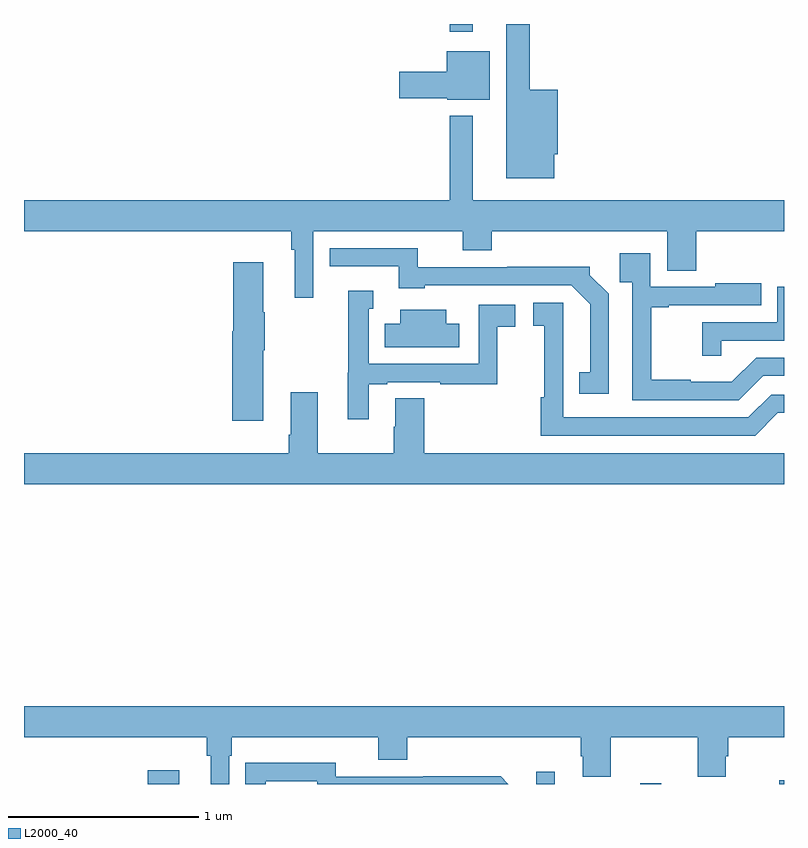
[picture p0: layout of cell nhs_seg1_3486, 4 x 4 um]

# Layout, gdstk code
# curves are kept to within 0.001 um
import gdstk
lib = gdstk.Library(unit=1e-6, precision=1e-09)
def R(c, l, rs):  # rectangles x0, y0, x1, y1
    for r in rs: c.add(gdstk.rectangle(r[:2], r[2:], *l))
def P(c, l, *ps):  # polygons
    for p in ps: c.add(gdstk.Polygon(p, *l))
L2000_40 = (2000, 40)

nhs_seg1_3486 = lib.new_cell('nhs_seg1_3486')
R(nhs_seg1_3486, L2000_40, [(301.652,506.199,301.816,506.272), (303.696,506.199,303.793,506.263), (304.244,506.199,304.355,506.203), (304.974,506.199,305,506.22), (303.24,510.159,303.361,510.199)])
P(nhs_seg1_3486, L2000_40, [(303.79,509.514),(303.808,509.514),(303.808,509.854),(303.661,509.854),(303.661,510.199),(303.539,510.199),(303.539,509.387),(303.79,509.387)],
  [(303.451,510.055),(303.224,510.055),(303.224,509.949),(302.976,509.949),(302.976,509.807),(303.228,509.807),(303.228,509.801),(303.451,509.801)],
  [(303.361,509.716),(303.24,509.716),(303.24,509.272),(301,509.272),(301,509.108),(302.407,509.108),(302.407,509.012),(302.426,509.012),(302.426,508.758),(302.523,508.758),(302.523,509.108),(303.308,509.108),(303.308,509.009),(303.461,509.009),(303.461,509.108),(304.385,509.108),(304.385,508.9),(304.538,508.9),(304.538,509.108),(305,509.108),(305,509.272),(303.361,509.272)],
  [(304.077,508.778),(303.978,508.877),(303.978,508.922),(303.544,508.922),(303.544,508.92),(303.072,508.92),(303.072,509.019),(302.608,509.019),(302.608,508.923),(302.972,508.923),(302.972,508.808),(303.108,508.808),(303.108,508.824),(303.879,508.824),(303.98,508.723),(303.98,508.367),(303.922,508.367),(303.922,508.254),(304.077,508.254)],
  [(304.89,508.347),(305,508.347),(305,508.443),(304.854,508.443),(304.726,508.315),(304.508,508.315),(304.508,508.327),(304.301,508.327),(304.301,508.707),(304.393,508.707),(304.393,508.719),(304.88,508.719),(304.88,508.834),(304.637,508.834),(304.637,508.815),(304.296,508.815),(304.296,508.993),(304.135,508.993),(304.135,508.841),(304.2,508.841),(304.2,508.218),(304.761,508.218)],
  [(302.26,508.481),(302.268,508.481),(302.268,508.681),(302.26,508.681),(302.26,508.945),(302.102,508.945),(302.102,508.581),(302.096,508.581),(302.096,508.11),(302.26,508.11)],
  [(304.671,508.533),(305,508.533),(305,508.815),(304.965,508.815),(304.965,508.629),(304.57,508.629),(304.57,508.452),(304.671,508.452)],
  [(302.815,508.302),(302.911,508.302),(302.911,508.314),(303.19,508.314),(303.19,508.302),(303.492,508.302),(303.492,508.606),(303.586,508.606),(303.586,508.722),(303.393,508.722),(303.393,508.41),(302.814,508.41),(302.814,508.701),(302.839,508.701),(302.839,508.795),(302.706,508.795),(302.706,508.363),(302.705,508.363),(302.705,508.119),(302.815,508.119)],
  [(304.968,508.152),(305,508.152),(305,508.248),(304.932,508.248),(304.812,508.128),(303.837,508.128),(303.838,508.732),(303.681,508.732),(303.681,508.611),(303.739,508.611),(303.739,508.235),(303.721,508.235),(303.721,508.032),(304.848,508.032)],
  [(303.292,508.621),(303.223,508.621),(303.223,508.696),(302.981,508.696),(302.981,508.621),(302.899,508.621),(302.899,508.499),(303.292,508.499)],
  [(305,507.94),(303.107,507.94),(303.107,508.229),(302.954,508.229),(302.954,508.079),(302.947,508.079),(302.947,507.94),(302.545,507.94),(302.545,508.261),(302.405,508.261),(302.405,508.036),(302.393,508.036),(302.393,507.94),(301,507.94),(301,507.776),(305,507.776)],
  [(302.079,506.348),(302.093,506.348),(302.093,506.444),(302.864,506.444),(302.864,506.327),(303.017,506.327),(303.017,506.444),(303.929,506.444),(303.929,506.346),(303.941,506.346),(303.941,506.236),(304.089,506.236),(304.089,506.444),(304.546,506.444),(304.546,506.236),(304.693,506.236),(304.693,506.346),(304.706,506.346),(304.706,506.444),(305,506.444),(305,506.608),(301,506.608),(301,506.444),(301.963,506.444),(301.963,506.348),(301.982,506.348),(301.982,506.199),(302.079,506.199)],
  [(302.272,506.214),(302.544,506.214),(302.544,506.199),(303.549,506.199),(303.508,506.24),(303.1,506.24),(303.1,506.238),(302.64,506.238),(302.64,506.311),(302.164,506.31),(302.164,506.199),(302.272,506.199)])

lib.write_gds('nhs_seg1_3486.gds')
